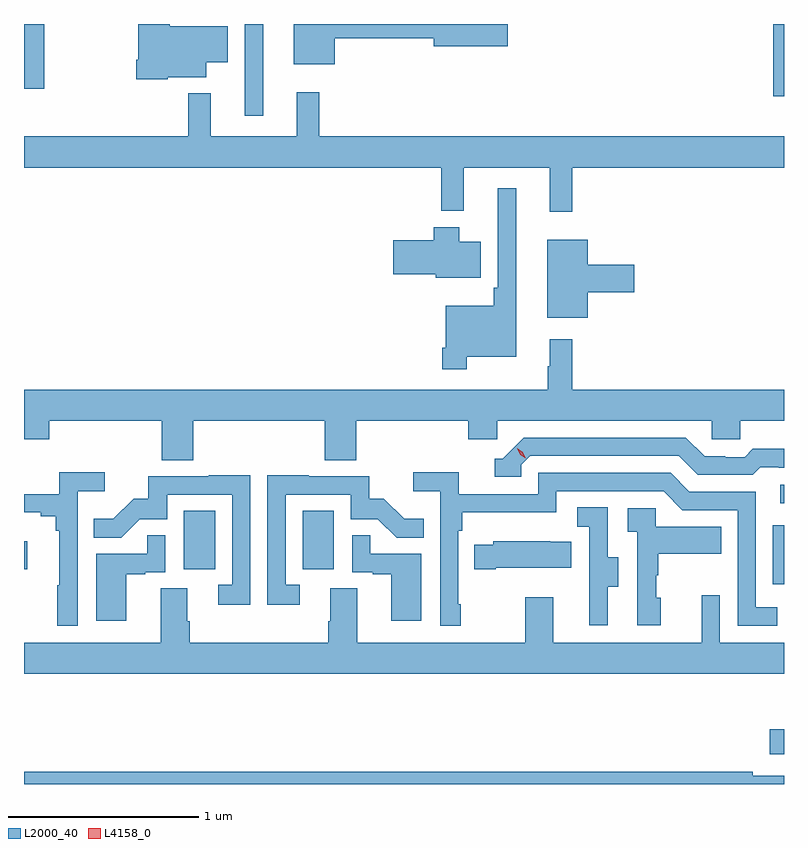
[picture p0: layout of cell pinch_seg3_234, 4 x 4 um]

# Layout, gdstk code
import gdstk
lib = gdstk.Library(unit=1e-6, precision=1e-09)
def R(c, l, rs):  # rectangles x0, y0, x1, y1
    for r in rs: c.add(gdstk.rectangle(r[:2], r[2:], *l))
def P(c, l, *ps):  # polygons
    for p in ps: c.add(gdstk.Polygon(p, *l))
L2000_40 = (2000, 40)
L4158_0 = (4158, 0)

pinch_seg3_234 = lib.new_cell('pinch_seg3_234')
R(pinch_seg3_234, L2000_40, [(912.588,739.121,912.664,739.251), (912.606,740.016,912.664,740.326), (909.506,740.094,909.67,740.401), (910.13,740.094,910.294,740.401), (908.664,740.095,908.68,740.242), (912.645,740.442,912.664,740.538), (909.825,742.482,909.922,742.964), (912.608,742.584,912.664,742.964), (908.664,742.623,908.771,742.964)])
P(pinch_seg3_234, L2000_40, [(909.42,742.685),(909.622,742.685),(909.622,742.763),(909.736,742.763),(909.736,742.951),(909.432,742.951),(909.432,742.964),(909.266,742.964),(909.266,742.777),(909.254,742.777),(909.254,742.673),(909.42,742.673)],
  [(910.3,742.888),(910.82,742.888),(910.82,742.846),(911.209,742.846),(911.209,742.964),(910.085,742.964),(910.085,742.751),(910.3,742.751)],
  [(911.549,742.208),(912.664,742.208),(912.664,742.372),(910.217,742.372),(910.217,742.606),(910.1,742.606),(910.1,742.372),(909.647,742.372),(909.647,742.6),(909.529,742.6),(909.529,742.372),(908.664,742.372),(908.664,742.208),(910.861,742.208),(910.861,741.98),(910.979,741.98),(910.979,742.208),(911.432,742.208),(911.432,741.975),(911.549,741.975)],
  [(910.993,741.212),(911.254,741.212),(911.254,742.099),(911.157,742.099),(911.157,741.577),(911.137,741.577),(911.137,741.481),(910.884,741.481),(910.884,741.259),(910.864,741.259),(910.864,741.147),(910.993,741.147)],
  [(911.068,741.817),(910.954,741.817),(910.954,741.895),(910.82,741.895),(910.82,741.825),(910.608,741.825),(910.608,741.647),(910.832,741.647),(910.832,741.629),(911.068,741.629)],
  [(911.632,741.551),(911.875,741.551),(911.875,741.698),(911.632,741.698),(911.632,741.829),(911.417,741.829),(911.417,741.419),(911.632,741.419)],
  [(908.664,740.778),(908.798,740.778),(908.798,740.876),(909.389,740.876),(909.389,740.668),(909.554,740.668),(909.554,740.876),(910.247,740.876),(910.247,740.668),(910.412,740.668),(910.412,740.876),(911.003,740.876),(911.003,740.778),(911.154,740.778),(911.154,740.876),(912.285,740.876),(912.285,740.778),(912.435,740.778),(912.435,740.876),(912.664,740.876),(912.664,741.04),(911.549,741.04),(911.549,741.304),(911.432,741.304),(911.432,741.164),(911.421,741.164),(911.421,741.04),(908.664,741.04)],
  [(911.28,740.643),(911.328,740.691),(912.111,740.691),(912.21,740.592),(912.499,740.592),(912.538,740.631),(912.637,740.631),(912.637,740.628),(912.664,740.628),(912.664,740.728),(912.499,740.728),(912.457,740.685),(912.354,740.685),(912.354,740.688),(912.247,740.688),(912.148,740.787),(911.295,740.787),(911.184,740.676),(911.141,740.676),(911.141,740.58),(911.28,740.58)],
  [(908.946,740.504),(909.088,740.504),(909.088,740.606),(908.849,740.606),(908.849,740.49),(908.664,740.49),(908.664,740.393),(908.753,740.393),(908.753,740.374),(908.83,740.374),(908.83,740.297),(908.849,740.297),(908.849,740.009),(908.838,740.009),(908.838,739.797),(908.946,739.797)],
  [(910.963,739.909),(910.95,739.909),(910.95,740.297),(910.97,740.297),(910.97,740.393),(911.466,740.393),(911.466,740.505),(912.03,740.505),(912.129,740.406),(912.42,740.406),(912.42,739.797),(912.629,739.797),(912.629,739.893),(912.516,739.893),(912.516,740.502),(912.166,740.502),(912.067,740.601),(911.37,740.601),(911.37,740.49),(910.952,740.49),(910.952,740.606),(910.713,740.606),(910.713,740.504),(910.854,740.504),(910.854,739.797),(910.963,739.797)],
  [(909.855,740.588),(909.637,740.588),(909.637,740.583),(909.319,740.583),(909.319,740.466),(909.242,740.466),(909.135,740.359),(909.031,740.359),(909.031,740.26),(909.175,740.26),(909.273,740.358),(909.417,740.358),(909.417,740.487),(909.759,740.487),(909.759,740.013),(909.687,740.013),(909.687,739.908),(909.855,739.908)],
  [(910.114,740.013),(910.041,740.013),(910.041,740.487),(910.383,740.487),(910.383,740.358),(910.527,740.358),(910.625,740.26),(910.769,740.26),(910.769,740.359),(910.665,740.359),(910.558,740.466),(910.482,740.466),(910.482,740.583),(910.163,740.583),(910.163,740.588),(909.945,740.588),(909.945,739.908),(910.114,739.908)],
  [(911.737,740.002),(911.791,740.002),(911.791,740.157),(911.736,740.157),(911.736,740.42),(911.577,740.42),(911.577,740.317),(911.64,740.317),(911.64,740.013),(911.639,740.013),(911.639,739.8),(911.737,739.8)],
  [(912.016,739.944),(911.991,739.944),(911.991,740.063),(912.001,740.063),(912.001,740.177),(912.335,740.177),(912.335,740.317),(911.988,740.317),(911.988,740.415),(911.841,740.415),(911.841,740.291),(911.892,740.291),(911.892,739.8),(912.016,739.8)],
  [(909.202,740.067),(909.302,740.067),(909.302,740.079),(909.408,740.079),(909.408,740.273),(909.313,740.273),(909.313,740.175),(909.044,740.175),(909.044,739.824),(909.202,739.824)],
  [(910.756,740.175),(910.487,740.175),(910.487,740.273),(910.392,740.273),(910.392,740.079),(910.499,740.079),(910.499,740.067),(910.598,740.067),(910.598,739.824),(910.756,739.824)],
  [(911.146,740.102),(911.543,740.102),(911.543,740.239),(911.435,740.239),(911.435,740.242),(911.133,740.242),(911.133,740.224),(911.035,740.224),(911.035,740.095),(911.146,740.095)],
  [(912.664,739.708),(912.327,739.708),(912.327,739.957),(912.23,739.957),(912.23,739.708),(911.449,739.708),(911.449,739.948),(911.302,739.948),(911.302,739.708),(910.417,739.708),(910.417,739.994),(910.277,739.994),(910.277,739.82),(910.265,739.82),(910.265,739.708),(909.536,739.708),(909.536,739.82),(909.523,739.82),(909.523,739.994),(909.383,739.994),(909.383,739.708),(908.664,739.708),(908.664,739.544),(912.664,739.544)],
  [(912.664,739.008),(912.5,739.008),(912.5,739.028),(908.664,739.028),(908.664,738.964),(912.664,738.964)])
P(pinch_seg3_234, L4158_0, [(911.305,740.678),(911.275,740.698),(911.259,740.731),(911.259,740.731),(911.259,740.731),(911.29,740.711),(911.306,740.678),(911.306,740.678)])

lib.write_gds('pinch_seg3_234.gds')
